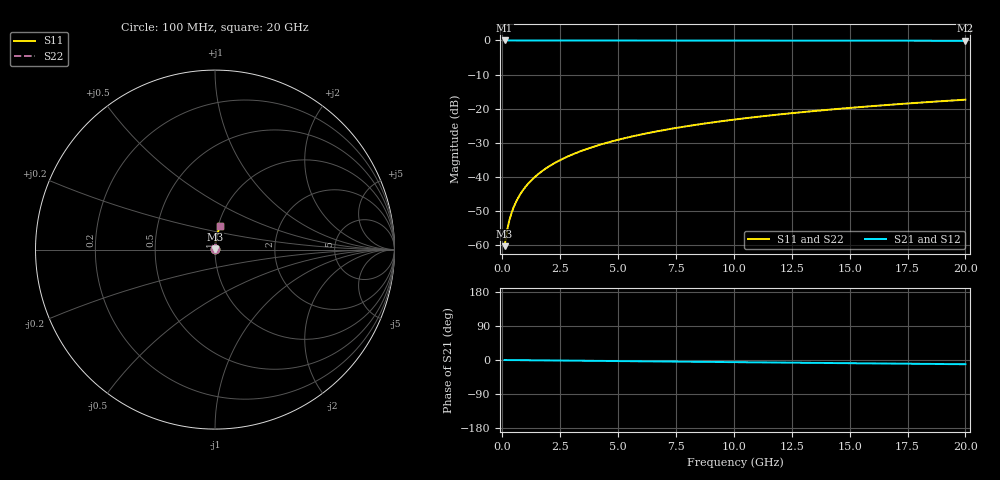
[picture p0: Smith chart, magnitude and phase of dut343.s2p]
! Touchstone file exported from HFSS 2026.1.0
!  File:  C:/ffzhzh/LocalFiles/Ansys_Project_Files/temp_train_BSMRDL_343_1783011242_51716.aedt
!  Generated:  12:55:26 AM Jul  3, 2026
!  Design:  BSMRDL
!  Project:  temp_train_BSMRDL_343_1783011242_51716
! Variables:
!  h_bsmrdl = 4.21um
!  h_ox = 20um
!  h_rdl = 5um
!  h_sub = 80um
!  h_tmrdl = 5um
!  h_tsv = 80um
!  h_via = 3um
!  l_bsmrdl = 102.22um
!  l_sub = 502.22um
!  l_tmrdl = 200um
!  m_sub = 200um
!  pitch = 56.12um
!  r_tsv = 6um
!  s_tmrdl = 10um
!  w_bsmrdl = 19.04um
!  w_sub = 500um
!  w_tmrdl = 12um
!  x_tsv_center1 = 206um
!  x_tsv_center2 = 327.26um
!  x_tsv_center3 = 539.26um
!  x_tsv_center4 = 660.52um
!  x_tsv_center5 = 872.52um
!  x_tsv_center6 = 993.78um
# GHz S MA R 50.000000
! Terminal data exported
! Port[1] = BSM_RDL1_1_T1
! Port[2] = BSM_RDL1_1_T2
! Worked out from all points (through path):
!   200 points, 100 MHz to 20 GHz, reference 50 ohm
!   highest |S21| = -0.01 dB at 100 MHz (marker M1); lowest = -0.1 dB at 20 GHz (marker M2)
!   group delay of S21, straight-line fit = 1.55 ps
!   lowest |S11| = -60.3 dB at 100 MHz (marker M3), VSWR 1.00, Z = 50.1 + j0.0743 ohm
!   |S11| at or under -10 dB: start of sweep to end of sweep
!   |S22| runs from -60.3 to -17.3 dB; largest |S21 - S12| = 2.6e-15
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0.1  0.0009711 49.9  0.9994 -0.1  0.9994 -0.1  0.0009711 49.9
! Gamma 0 0 0 0
! Port Impedance 50 0 50 0
0.2  0.00161 66.1  0.9994 -0.1  0.9994 -0.1  0.00161 66.1
0.3  0.002292 72.7  0.9993 -0.2  0.9993 -0.2  0.002292 72.7
0.4  0.002982 76.3  0.9993 -0.2  0.9993 -0.2  0.002982 76.3
0.5  0.003675 78.5  0.9993 -0.3  0.9993 -0.3  0.003675 78.5
0.7  0.005065 81.2  0.9992 -0.4  0.9992 -0.4  0.005065 81.2
0.8  0.005763 82.1  0.9992 -0.5  0.9992 -0.5  0.005763 82.1
1  0.007162 83.3  0.9992 -0.6  0.9992 -0.6  0.007162 83.3
1.2  0.008564 84.1  0.9992 -0.7  0.9992 -0.7  0.008564 84.1
1.4  0.009968 84.6  0.9991 -0.8  0.9991 -0.8  0.009968 84.6
1.7  0.01208 85.1  0.9991 -1.0  0.9991 -1.0  0.01208 85.1
2  0.01418 85.4  0.999 -1.1  0.999 -1.1  0.01418 85.4
2.7  0.0191 85.7  0.9989 -1.5  0.9989 -1.5  0.0191 85.7
3.5  0.02469 85.6  0.9987 -2.0  0.9987 -2.0  0.02469 85.6
4.2  0.02956 85.4  0.9984 -2.4  0.9984 -2.4  0.02956 85.4
5  0.03511 85.1  0.9981 -2.9  0.9981 -2.9  0.03511 85.1
6.8  0.04749 84.3  0.9974 -3.9  0.9974 -3.9  0.04749 84.3
8.3  0.05772 83.6  0.9966 -4.7  0.9966 -4.7  0.05772 83.6
10.1  0.06993 82.7  0.9956 -5.7  0.9956 -5.7  0.06993 82.7
13.4  0.09211 81.0  0.9935 -7.5  0.9935 -7.5  0.09211 81.0
16.7  0.1141 79.3  0.9909 -9.4  0.9909 -9.4  0.1141 79.4
20  0.1357 77.6  0.988 -11.2  0.988 -11.2  0.1357 77.6
